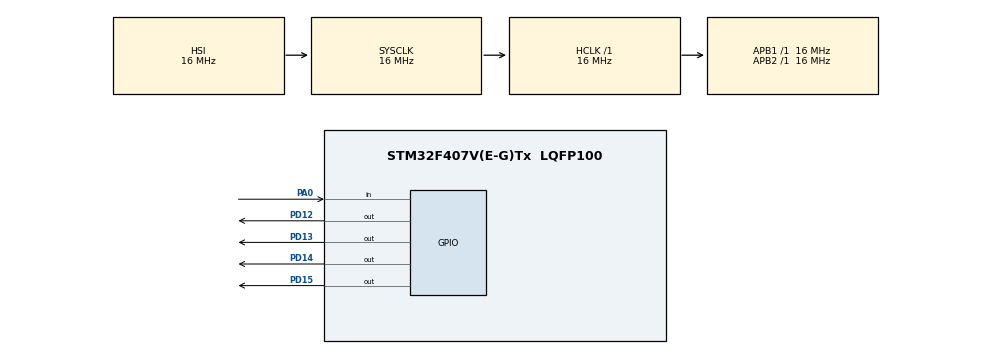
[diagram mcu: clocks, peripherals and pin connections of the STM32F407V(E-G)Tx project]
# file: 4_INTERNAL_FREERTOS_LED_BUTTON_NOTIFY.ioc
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FREERTOS.Tasks01=Button,2,128,ButtonControlTask,Default,NULL,Dynamic,NULL,NULL;Led,2,128,LedFlashTask,Default,NULL,Dynamic,NULL,NULL
Mcu.Family=STM32F4
Mcu.Name=STM32F407V(E-G)Tx
Mcu.Package=LQFP100
NVIC.PriorityGroup=NVIC_PRIORITYGROUP_4
PA0-WKUP.Signal=GPIO_Input
PD12.Signal=GPIO_Output
PD13.Signal=GPIO_Output
PD14.Signal=GPIO_Output
PD15.Signal=GPIO_Output
ProjectManager.HeapSize=0x200
ProjectManager.StackSize=0x400
ProjectManager.TargetToolchain=STM32CubeIDE
RCC.AHBFreq_Value=16000000
RCC.APB1Freq_Value=16000000
RCC.APB2Freq_Value=16000000
RCC.CortexFreq_Value=16000000
RCC.HSE_VALUE=25000000
RCC.HSI_VALUE=16000000
RCC.LSE_VALUE=32768
RCC.SYSCLKFreq_VALUE=16000000
RCC.VCOOutputFreq_Value=192000000
VP_FREERTOS_VS_CMSIS_V1.Mode=CMSIS_V1
board=custom

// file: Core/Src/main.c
/* USER CODE BEGIN Header */
/**
  ******************************************************************************
  * @file           : main.c
  * @brief          : Main program body
  ******************************************************************************
  * @attention
  *
  * Copyright (c) 2022 STMicroelectronics.
  * All rights reserved.
  *
  * This software is licensed under terms that can be found in the LICENSE file
  * in the root directory of this software component.
  * If no LICENSE file comes with this software, it is provided AS-IS.
  *
  ******************************************************************************
  */
/* USER CODE END Header */
#include "main.h"
//#include "cmsis_os.h"

/* USER CODE BEGIN Includes */
#include "FreeRTOS.h"
#include "task.h"
/* USER CODE END Includes */

//osThreadId ButtonHandle;
//osThreadId LedHandle;
/* USER CODE BEGIN PV */
uint32_t ButtonCount=0;
TaskHandle_t MyButtonTaskHandle;
TaskHandle_t MyLedTaskHandle;
/* USER CODE END PV */

void SystemClock_Config(void);
static void MX_GPIO_Init(void);
void ButtonControlTask(void const * argument);
void LedFlashTask(void const * argument);

int main(void)
{

  /* MCU Configuration--------------------------------------------------------*/

  /* Reset of all peripherals, Initializes the Flash interface and the Systick. */
  HAL_Init();

  /* Configure the system clock */
  SystemClock_Config();

  /* Initialize all configured peripherals */
  MX_GPIO_Init();

  /* Create the thread(s) */
  /* definition and creation of Button */

  //osThreadDef(Button, ButtonControlTask, osPriorityHigh, 0, 128);
  //ButtonHandle = osThreadCreate(osThread(Button), NULL);

  /* definition and creation of Led */

  //osThreadDef(Led, LedFlashTask, osPriorityHigh, 0, 128);
  //LedHandle = osThreadCreate(osThread(Led), NULL);

  /* USER CODE BEGIN RTOS_THREADS */
  /* add threads, ... */

  xTaskCreate(ButtonControlTask, "Button", 500, NULL, 2, &MyButtonTaskHandle);
  xTaskCreate(LedFlashTask, "Led", 500, NULL, 2, &MyLedTaskHandle);

  vTaskStartScheduler();

  /* USER CODE END RTOS_THREADS */

  /* Start scheduler */

  //osKernelStart();

  /* We should never get here as control is now taken by the scheduler */
  /* Infinite loop */
  while (1)
  {

  }
}

void SystemClock_Config(void)
{
  RCC_OscInitTypeDef RCC_OscInitStruct = {0};
  RCC_ClkInitTypeDef RCC_ClkInitStruct = {0};

  /** Configure the main internal regulator output voltage
  */
  __HAL_RCC_PWR_CLK_ENABLE();
  __HAL_PWR_VOLTAGESCALING_CONFIG(PWR_REGULATOR_VOLTAGE_SCALE1);

  /** Initializes the RCC Oscillators according to the specified parameters
  * in the RCC_OscInitTypeDef structure.
  */
  RCC_OscInitStruct.OscillatorType = RCC_OSCILLATORTYPE_HSI;
  RCC_OscInitStruct.HSIState = RCC_HSI_ON;
  RCC_OscInitStruct.HSICalibrationValue = RCC_HSICALIBRATION_DEFAULT;
  RCC_OscInitStruct.PLL.PLLState = RCC_PLL_NONE;
  if (HAL_RCC_OscConfig(&RCC_OscInitStruct) != HAL_OK)
  {
    Error_Handler();
  }

  /** Initializes the CPU, AHB and APB buses clocks
  */
  RCC_ClkInitStruct.ClockType = RCC_CLOCKTYPE_HCLK|RCC_CLOCKTYPE_SYSCLK
                              |RCC_CLOCKTYPE_PCLK1|RCC_CLOCKTYPE_PCLK2;
  RCC_ClkInitStruct.SYSCLKSource = RCC_SYSCLKSOURCE_HSI;
  RCC_ClkInitStruct.AHBCLKDivider = RCC_SYSCLK_DIV1;
  RCC_ClkInitStruct.APB1CLKDivider = RCC_HCLK_DIV1;
  RCC_ClkInitStruct.APB2CLKDivider = RCC_HCLK_DIV1;

  if (HAL_RCC_ClockConfig(&RCC_ClkInitStruct, FLASH_LATENCY_0) != HAL_OK)
  {
    Error_Handler();
  }
}

static void MX_GPIO_Init(void)
{
  GPIO_InitTypeDef GPIO_InitStruct = {0};

  /* GPIO Ports Clock Enable */
  __HAL_RCC_GPIOA_CLK_ENABLE();
  __HAL_RCC_GPIOD_CLK_ENABLE();

  /*Configure GPIO pin Output Level */
  HAL_GPIO_WritePin(GPIOD, GPIO_PIN_12|GPIO_PIN_13|GPIO_PIN_14|GPIO_PIN_15, GPIO_PIN_RESET);

  /*Configure GPIO pin : PA0 */
  GPIO_InitStruct.Pin = GPIO_PIN_0;
  GPIO_InitStruct.Mode = GPIO_MODE_INPUT;
  GPIO_InitStruct.Pull = GPIO_NOPULL;
  HAL_GPIO_Init(GPIOA, &GPIO_InitStruct);

  /*Configure GPIO pins : PD12 PD13 PD14 PD15 */
  GPIO_InitStruct.Pin = GPIO_PIN_12|GPIO_PIN_13|GPIO_PIN_14|GPIO_PIN_15;
  GPIO_InitStruct.Mode = GPIO_MODE_OUTPUT_PP;
  GPIO_InitStruct.Pull = GPIO_NOPULL;
  GPIO_InitStruct.Speed = GPIO_SPEED_FREQ_LOW;
  HAL_GPIO_Init(GPIOD, &GPIO_InitStruct);

}

void ButtonControlTask(void const * argument)
{
  /* USER CODE BEGIN 5 */
	uint32_t pulNotificationValue = 0;
  /* Infinite loop */
  for(;;)
  {

    if(xTaskNotifyWait(0, 0, &pulNotificationValue, portMAX_DELAY)==pdTRUE){

    	HAL_GPIO_TogglePin(GPIOD, GPIO_PIN_12|GPIO_PIN_13|GPIO_PIN_14|GPIO_PIN_15);
    	ButtonCount=pulNotificationValue;

    }
  }
  /* USER CODE END 5 */
}

void LedFlashTask(void const * argument)
{
  /* USER CODE BEGIN LedFlashTask */
  /* Infinite loop */
  for(;;)
  {
    if(HAL_GPIO_ReadPin(GPIOA, GPIO_PIN_0)== GPIO_PIN_SET){
    	while(HAL_GPIO_ReadPin(GPIOA, GPIO_PIN_0)== GPIO_PIN_SET);
    	xTaskNotify(MyLedTaskHandle,0x00,eIncrement);
    }
  }
  /* USER CODE END LedFlashTask */
}

void Error_Handler(void)
{
  __disable_irq();
  while (1)
  {
  }
}
